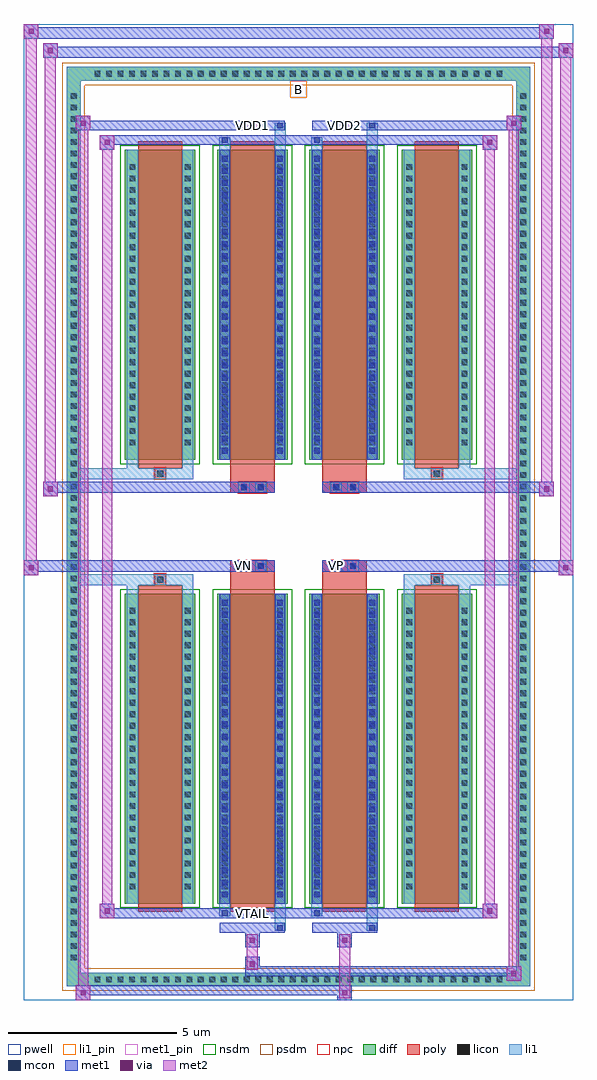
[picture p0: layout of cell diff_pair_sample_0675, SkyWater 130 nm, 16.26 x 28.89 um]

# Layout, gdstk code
import gdstk
lib = gdstk.Library(unit=1e-6, precision=5e-09)
def R(c, l, rs):  # rectangles x0, y0, x1, y1
    for r in rs: c.add(gdstk.rectangle(r[:2], r[2:], *l))
def A(c, l, x, y, w, h, nx, ny, dx, dy):  # array of equal rectangles
    R(c, l, [(x+i*dx, y+j*dy, x+i*dx+w, y+j*dy+h) for i in range(nx) for j in range(ny)])
def P(c, l, *ps):  # polygons
    for p in ps: c.add(gdstk.Polygon(p, *l))
pwell = (64, 44)
diff = (65, 20)
poly = (66, 20)
licon = (66, 44)
li1_pin = (67, 16)
li1 = (67, 20)
mcon = (67, 44)
met1_pin = (68, 16)
met1 = (68, 20)
via = (68, 44)
met2 = (69, 20)
nsdm = (93, 44)
psdm = (94, 20)
npc = (95, 20)

diff_pair_sample_0675 = lib.new_cell('diff_pair_sample_0675')
R(diff_pair_sample_0675, pwell, [(-8.13,-14.01,8.13,14.88), (-5.45,-12.2,-0.01,-0.8), (0.01,-12.2,5.45,-0.8), (-5.45,0.8,-0.01,12.2), (0.01,0.8,5.45,12.2)])
A(diff_pair_sample_0675, diff, -6.155, -13.61, 0.41, 0.41, 36, 2, 0.34, 26.81)
A(diff_pair_sample_0675, diff, -6.86, -12.955, 0.41, 0.41, 1, 76, 0, 0.34)
A(diff_pair_sample_0675, diff, 6.45, -12.955, 0.41, 0.41, 1, 76, 0, 0.34)
A(diff_pair_sample_0675, diff, -5.14, -11.155, 2.09, 9.17, 4, 2, 2.73, 13.14)
R(diff_pair_sample_0675, diff, [(-6.155,-13.61,6.155,-13.2), (-6.86,-12.955,-6.45,12.955), (6.45,-12.955,6.86,12.955), (-6.155,13.2,6.155,13.61)])
P(diff_pair_sample_0675, diff, [(6.86,13.61),(-6.86,13.61),(-6.86,-13.2),(-6.45,-13.2),(-6.45,13.2),(6.45,13.2),(6.45,-13.2),(-6.45,-13.2),(-6.86,-13.2),(-6.86,-13.61),(6.86,-13.61)])
A(diff_pair_sample_0675, poly, -4.75, -11.405, 1.31, 9.67, 4, 2, 2.73, 13.14)
R(diff_pair_sample_0675, poly, [(-4.26,-1.735,-3.93,-1.405), (-4.26,-1.735,-3.93,-1.405), (-2.02,-1.735,-0.71,-1.33), (0.71,-1.735,2.02,-1.33), (3.93,-1.735,4.26,-1.405), (3.93,-1.735,4.26,-1.405), (-2.02,-1.33,-0.71,-1), (-1.78,-1.33,-1.45,-1), (-1.28,-1.33,-0.95,-1), (0.71,-1.33,2.02,-1), (0.95,-1.33,1.28,-1), (1.45,-1.33,1.78,-1), (-2.02,1,-0.71,1.33), (-1.78,1,-1.45,1.33), (-1.28,1,-0.95,1.33), (0.71,1,2.02,1.33), (0.95,1,1.28,1.33), (1.45,1,1.78,1.33), (-2.02,1.33,-0.71,1.735), (0.71,1.33,2.02,1.735), (-4.26,1.405,-3.93,1.735), (-4.26,1.405,-3.93,1.735), (3.93,1.405,4.26,1.735), (3.93,1.405,4.26,1.735)])
A(diff_pair_sample_0675, licon, -6.035, -13.49, 0.17, 0.17, 36, 2, 0.34, 26.81)
A(diff_pair_sample_0675, licon, -6.74, -12.835, 0.17, 0.17, 1, 76, 0, 0.34)
A(diff_pair_sample_0675, licon, 6.57, -12.835, 0.17, 0.17, 1, 76, 0, 0.34)
A(diff_pair_sample_0675, licon, -5, -10.735, 0.17, 0.17, 1, 25, 0, 0.34)
A(diff_pair_sample_0675, licon, -3.36, -10.735, 0.17, 0.17, 1, 25, 0, 0.34)
A(diff_pair_sample_0675, licon, -2.27, -10.735, 0.17, 0.17, 1, 25, 0, 0.34)
A(diff_pair_sample_0675, licon, -0.63, -10.735, 0.17, 0.17, 1, 25, 0, 0.34)
A(diff_pair_sample_0675, licon, 0.46, -10.735, 0.17, 0.17, 1, 25, 0, 0.34)
A(diff_pair_sample_0675, licon, 2.1, -10.735, 0.17, 0.17, 1, 25, 0, 0.34)
A(diff_pair_sample_0675, licon, 3.19, -10.735, 0.17, 0.17, 1, 25, 0, 0.34)
A(diff_pair_sample_0675, licon, 4.83, -10.735, 0.17, 0.17, 1, 25, 0, 0.34)
A(diff_pair_sample_0675, licon, -5, 2.405, 0.17, 0.17, 1, 25, 0, 0.34)
A(diff_pair_sample_0675, licon, -3.36, 2.405, 0.17, 0.17, 1, 25, 0, 0.34)
A(diff_pair_sample_0675, licon, -2.27, 2.405, 0.17, 0.17, 1, 25, 0, 0.34)
A(diff_pair_sample_0675, licon, -0.63, 2.405, 0.17, 0.17, 1, 25, 0, 0.34)
A(diff_pair_sample_0675, licon, 0.46, 2.405, 0.17, 0.17, 1, 25, 0, 0.34)
A(diff_pair_sample_0675, licon, 2.1, 2.405, 0.17, 0.17, 1, 25, 0, 0.34)
A(diff_pair_sample_0675, licon, 3.19, 2.405, 0.17, 0.17, 1, 25, 0, 0.34)
A(diff_pair_sample_0675, licon, 4.83, 2.405, 0.17, 0.17, 1, 25, 0, 0.34)
R(diff_pair_sample_0675, licon, [(-4.18,-1.655,-4.01,-1.485), (4.01,-1.655,4.18,-1.485), (-1.7,-1.25,-1.53,-1.08), (-1.2,-1.25,-1.03,-1.08), (1.03,-1.25,1.2,-1.08), (1.53,-1.25,1.7,-1.08), (-1.7,1.08,-1.53,1.25), (-1.2,1.08,-1.03,1.25), (1.03,1.08,1.2,1.25), (1.53,1.08,1.7,1.25), (-4.18,1.485,-4.01,1.655), (4.01,1.485,4.18,1.655)])
R(diff_pair_sample_0675, li1_pin, [(-0.25,12.7,0.25,13.2)])
A(diff_pair_sample_0675, li1, -6.115, -13.57, 0.33, 0.33, 36, 2, 0.34, 26.81)
A(diff_pair_sample_0675, li1, -6.82, -12.915, 0.33, 0.33, 1, 76, 0, 0.34)
A(diff_pair_sample_0675, li1, 6.49, -12.915, 0.33, 0.33, 1, 76, 0, 0.34)
A(diff_pair_sample_0675, li1, -2.27, -10.975, 0.17, 0.17, 1, 25, 0, 0.36)
A(diff_pair_sample_0675, li1, -0.63, -10.975, 0.17, 0.17, 1, 25, 0, 0.36)
A(diff_pair_sample_0675, li1, 0.46, -10.975, 0.17, 0.17, 1, 25, 0, 0.36)
A(diff_pair_sample_0675, li1, 2.1, -10.975, 0.17, 0.17, 1, 25, 0, 0.36)
A(diff_pair_sample_0675, li1, -5.08, -10.815, 0.33, 0.33, 1, 25, 0, 0.34)
A(diff_pair_sample_0675, li1, -3.44, -10.815, 0.33, 0.33, 1, 25, 0, 0.34)
A(diff_pair_sample_0675, li1, -2.35, -10.815, 0.33, 0.33, 1, 25, 0, 0.34)
A(diff_pair_sample_0675, li1, -0.71, -10.815, 0.33, 0.33, 1, 25, 0, 0.34)
A(diff_pair_sample_0675, li1, 0.38, -10.815, 0.33, 0.33, 1, 25, 0, 0.34)
A(diff_pair_sample_0675, li1, 2.02, -10.815, 0.33, 0.33, 1, 25, 0, 0.34)
A(diff_pair_sample_0675, li1, 3.11, -10.815, 0.33, 0.33, 1, 25, 0, 0.34)
A(diff_pair_sample_0675, li1, 4.75, -10.815, 0.33, 0.33, 1, 25, 0, 0.34)
A(diff_pair_sample_0675, li1, -2.27, 2.165, 0.17, 0.17, 1, 25, 0, 0.36)
A(diff_pair_sample_0675, li1, -0.63, 2.165, 0.17, 0.17, 1, 25, 0, 0.36)
A(diff_pair_sample_0675, li1, 0.46, 2.165, 0.17, 0.17, 1, 25, 0, 0.36)
A(diff_pair_sample_0675, li1, 2.1, 2.165, 0.17, 0.17, 1, 25, 0, 0.36)
A(diff_pair_sample_0675, li1, -5.08, 2.325, 0.33, 0.33, 1, 25, 0, 0.34)
A(diff_pair_sample_0675, li1, -3.44, 2.325, 0.33, 0.33, 1, 25, 0, 0.34)
A(diff_pair_sample_0675, li1, -2.35, 2.325, 0.33, 0.33, 1, 25, 0, 0.34)
A(diff_pair_sample_0675, li1, -0.71, 2.325, 0.33, 0.33, 1, 25, 0, 0.34)
A(diff_pair_sample_0675, li1, 0.38, 2.325, 0.33, 0.33, 1, 25, 0, 0.34)
A(diff_pair_sample_0675, li1, 2.02, 2.325, 0.33, 0.33, 1, 25, 0, 0.34)
A(diff_pair_sample_0675, li1, 3.11, 2.325, 0.33, 0.33, 1, 25, 0, 0.34)
A(diff_pair_sample_0675, li1, 4.75, 2.325, 0.33, 0.33, 1, 25, 0, 0.34)
R(diff_pair_sample_0675, li1, [(-6.86,-13.61,-6.45,-13.2), (-6.86,-13.61,-6.45,-13.2), (-6.45,-13.61,6.45,-13.2), (6.45,-13.61,6.86,-13.2), (6.45,-13.61,6.86,-13.2), (-6.86,-13.2,-6.45,13.2), (6.45,-13.2,6.86,13.2), (-0.71,-11.96,-0.38,-11.155), (-0.63,-11.96,-0.46,-11.79), (2.02,-11.96,2.35,-11.155), (2.1,-11.96,2.27,-11.79), (-2.35,-11.53,-2.02,-11.155), (-2.27,-11.53,-2.1,-11.36), (0.38,-11.53,0.71,-11.155), (0.46,-11.53,0.63,-11.36), (-5.08,-11.155,-4.75,-1.985), (-3.44,-11.155,-3.11,-1.985), (-2.35,-11.155,-2.02,-1.985), (-0.71,-11.155,-0.38,-1.985), (0.38,-11.155,0.71,-1.985), (2.02,-11.155,2.35,-1.985), (3.11,-11.155,3.44,-1.985), (4.75,-11.155,5.08,-1.985), (-2.27,-10.975,-2.1,-2.165), (-0.63,-10.975,-0.46,-2.165), (0.46,-10.975,0.63,-2.165), (2.1,-10.975,2.27,-2.165), (-5.08,-1.985,-4.75,-1.405), (-3.44,-1.985,-3.11,-1.405), (3.11,-1.985,3.44,-1.405), (4.75,-1.985,5.08,-1.405), (-6.86,-1.735,-4.26,-1.405), (-5.08,-1.735,-4.26,-1.405), (-4.26,-1.735,-3.93,-1.405), (-3.93,-1.735,-3.11,-1.405), (3.11,-1.735,3.93,-1.405), (3.93,-1.735,4.26,-1.405), (3.93,-1.735,6.86,-1.405), (4.26,-1.735,5.08,-1.405), (-1.78,-1.33,-1.45,-1), (-1.28,-1.33,-0.95,-1), (0.95,-1.33,1.28,-1), (1.45,-1.33,1.78,-1), (-1.78,1,-1.45,1.33), (-1.28,1,-0.95,1.33), (0.95,1,1.28,1.33), (1.45,1,1.78,1.33), (-6.86,1.405,-4.26,1.735), (-5.08,1.405,-4.26,1.735), (-5.08,1.405,-4.75,1.985), (-4.26,1.405,-3.93,1.735), (-3.93,1.405,-3.11,1.735), (-3.44,1.405,-3.11,1.985), (3.11,1.405,3.93,1.735), (3.11,1.405,3.44,1.985), (3.93,1.405,4.26,1.735), (3.93,1.405,6.86,1.735), (4.26,1.405,5.08,1.735), (4.75,1.405,5.08,1.985), (-5.08,1.985,-4.75,11.155), (-3.44,1.985,-3.11,11.155), (-2.35,1.985,-2.02,11.155), (-0.71,1.985,-0.38,11.155), (0.38,1.985,0.71,11.155), (2.02,1.985,2.35,11.155), (3.11,1.985,3.44,11.155), (4.75,1.985,5.08,11.155), (-2.27,2.165,-2.1,10.975), (-0.63,2.165,-0.46,10.975), (0.46,2.165,0.63,10.975), (2.1,2.165,2.27,10.975), (-2.35,11.155,-2.02,11.53), (-0.71,11.155,-0.38,11.96), (0.38,11.155,0.71,11.53), (2.02,11.155,2.35,11.96), (-2.27,11.36,-2.1,11.53), (0.46,11.36,0.63,11.53), (-0.63,11.79,-0.46,11.96), (2.1,11.79,2.27,11.96), (-6.86,13.2,-6.45,13.61), (-6.86,13.2,-6.45,13.61), (-6.45,13.2,6.45,13.61), (6.45,13.2,6.86,13.61), (6.45,13.2,6.86,13.61)])
A(diff_pair_sample_0675, mcon, -2.27, -10.975, 0.17, 0.17, 1, 25, 0, 0.36)
A(diff_pair_sample_0675, mcon, -0.63, -10.975, 0.17, 0.17, 1, 25, 0, 0.36)
A(diff_pair_sample_0675, mcon, 0.46, -10.975, 0.17, 0.17, 1, 25, 0, 0.36)
A(diff_pair_sample_0675, mcon, 2.1, -10.975, 0.17, 0.17, 1, 25, 0, 0.36)
A(diff_pair_sample_0675, mcon, -2.27, 2.165, 0.17, 0.17, 1, 25, 0, 0.36)
A(diff_pair_sample_0675, mcon, -0.63, 2.165, 0.17, 0.17, 1, 25, 0, 0.36)
A(diff_pair_sample_0675, mcon, 0.46, 2.165, 0.17, 0.17, 1, 25, 0, 0.36)
A(diff_pair_sample_0675, mcon, 2.1, 2.165, 0.17, 0.17, 1, 25, 0, 0.36)
R(diff_pair_sample_0675, mcon, [(-0.63,-11.96,-0.46,-11.79), (2.1,-11.96,2.27,-11.79), (-2.27,-11.53,-2.1,-11.36), (0.46,-11.53,0.63,-11.36), (-1.7,-1.25,-1.53,-1.08), (-1.2,-1.25,-1.03,-1.08), (1.03,-1.25,1.2,-1.08), (1.53,-1.25,1.7,-1.08), (-1.7,1.08,-1.53,1.25), (-1.2,1.08,-1.03,1.25), (1.03,1.08,1.2,1.25), (1.53,1.08,1.7,1.25), (-2.27,11.36,-2.1,11.53), (0.46,11.36,0.63,11.53), (-0.63,11.79,-0.46,11.96), (2.1,11.79,2.27,11.96)])
R(diff_pair_sample_0675, met1_pin, [(-1.5,-11.57,-1.23,-11.3), (-1.75,-1.29,-1.48,-1.02), (0.98,-1.29,1.25,-1.02), (-1.5,11.75,-1.23,12.02), (1.23,11.75,1.5,12.02)])
A(diff_pair_sample_0675, met1, -2.33, -11.035, 0.29, 0.29, 1, 25, 0, 0.36)
A(diff_pair_sample_0675, met1, -0.69, -11.035, 0.29, 0.29, 1, 25, 0, 0.36)
A(diff_pair_sample_0675, met1, 0.4, -11.035, 0.29, 0.29, 1, 25, 0, 0.36)
A(diff_pair_sample_0675, met1, 2.04, -11.035, 0.29, 0.29, 1, 25, 0, 0.36)
A(diff_pair_sample_0675, met1, -2.33, 2.105, 0.29, 0.29, 1, 25, 0, 0.36)
A(diff_pair_sample_0675, met1, -0.69, 2.105, 0.29, 0.29, 1, 25, 0, 0.36)
A(diff_pair_sample_0675, met1, 0.4, 2.105, 0.29, 0.29, 1, 25, 0, 0.36)
A(diff_pair_sample_0675, met1, 2.04, 2.105, 0.29, 0.29, 1, 25, 0, 0.36)
R(diff_pair_sample_0675, met1, [(-6.59,-14.01,-6.16,-13.58), (1.15,-14.01,1.58,-13.58), (-6.59,-13.87,1.58,-13.58), (6.16,-13.44,6.59,-13.01), (-1.58,-13.3,6.59,-13.01), (-1.58,-13.16,-1.15,-12.73), (-1.58,-12.45,-1.15,-12.02), (1.15,-12.45,1.58,-12.02), (-2.33,-12.02,-0.4,-11.73), (-0.69,-12.02,-0.4,-11.73), (0.4,-12.02,2.33,-11.73), (2.04,-12.02,2.33,-11.73), (-5.88,-11.59,-5.45,-11.16), (-5.88,-11.59,-2.33,-11.3), (-2.33,-11.59,-2.04,-11.3), (-2.33,-11.59,-0.4,-11.3), (-0.4,-11.59,0.4,-11.3), (0.4,-11.59,0.69,-11.3), (0.4,-11.59,2.33,-11.3), (2.33,-11.59,5.88,-11.3), (5.45,-11.59,5.88,-11.16), (-2.33,-11.155,-2.04,-1.985), (-0.69,-11.155,-0.4,-1.985), (0.4,-11.155,0.69,-1.985), (2.04,-11.155,2.33,-1.985), (-8.13,-1.43,-7.7,-1), (7.7,-1.43,8.13,-1), (-8.13,-1.33,-0.71,-1), (-2.02,-1.33,-0.71,-1), (0.71,-1.33,2.02,-1), (0.71,-1.33,8.13,-1), (-1.76,-1.31,-1.47,-1.02), (-1.26,-1.31,-0.97,-1.02), (0.97,-1.31,1.26,-1.02), (1.47,-1.31,1.76,-1.02), (-7.56,0.9,-7.13,1.33), (7.13,0.9,7.56,1.33), (-7.56,1,-2.02,1.33), (-2.02,1,-0.71,1.33), (0.71,1,2.02,1.33), (2.02,1,7.56,1.33), (-1.76,1.02,-1.47,1.31), (-1.26,1.02,-0.97,1.31), (0.97,1.02,1.26,1.31), (1.47,1.02,1.76,1.31), (-2.33,1.985,-2.04,11.155), (-0.69,1.985,-0.4,11.155), (0.4,1.985,0.69,11.155), (2.04,1.985,2.33,11.155), (-5.88,11.16,-5.45,11.59), (5.45,11.16,5.88,11.59), (-5.88,11.3,-2.33,11.59), (-2.33,11.3,-2.04,11.59), (-2.33,11.3,-0.4,11.59), (-0.4,11.3,0.4,11.59), (0.4,11.3,0.69,11.59), (0.4,11.3,2.33,11.59), (2.33,11.3,5.88,11.59), (-6.59,11.73,-6.16,12.16), (-6.59,11.73,-2.33,12.02), (-2.33,11.73,-0.4,12.02), (-0.69,11.73,-0.4,12.02), (0.4,11.73,2.33,12.02), (2.04,11.73,2.33,12.02), (2.33,11.73,6.59,12.02), (6.16,11.73,6.59,12.16), (-7.56,13.88,-7.13,14.31), (-7.56,13.88,-5.45,14.21), (-5.45,13.88,5.45,14.21), (5.45,13.88,8.13,14.21), (7.7,13.88,8.13,14.31), (-8.13,14.45,-7.7,14.88), (-8.13,14.45,-5.45,14.78), (-5.45,14.45,5.45,14.78), (5.45,14.45,7.56,14.78), (7.13,14.45,7.56,14.88)])
R(diff_pair_sample_0675, via, [(-6.45,-13.87,-6.3,-13.72), (1.29,-13.87,1.44,-13.72), (6.3,-13.3,6.45,-13.15), (-1.44,-13.02,-1.29,-12.87), (-1.44,-12.31,-1.29,-12.16), (1.29,-12.31,1.44,-12.16), (-5.74,-11.45,-5.59,-11.3), (5.59,-11.45,5.74,-11.3), (-7.99,-1.29,-7.84,-1.14), (7.84,-1.29,7.99,-1.14), (-7.42,1.04,-7.27,1.19), (7.27,1.04,7.42,1.19), (-5.74,11.3,-5.59,11.45), (5.59,11.3,5.74,11.45), (-6.45,11.87,-6.3,12.02), (6.3,11.87,6.45,12.02), (-7.42,14.02,-7.27,14.17), (7.84,14.02,7.99,14.17), (-7.99,14.59,-7.84,14.74), (7.27,14.59,7.42,14.74)])
R(diff_pair_sample_0675, met2, [(-6.59,-14.01,-6.16,-13.58), (-6.52,-14.01,-6.23,12.16), (-6.23,-14.01,-6.16,-13.58), (-6.54,-13.96,-6.21,-13.63), (1.2,-13.96,1.53,-13.63), (1.2,-13.63,1.53,-12.4), (6.16,-13.44,6.59,-13.01), (6.23,-13.44,6.52,12.16), (6.52,-13.44,6.59,-13.01), (6.21,-13.39,6.54,-13.06), (-1.53,-13.11,-1.2,-12.78), (-1.53,-12.78,-1.2,-12.4), (-1.53,-12.4,-1.2,-12.07), (1.2,-12.4,1.53,-12.07), (-5.88,-11.59,-5.45,-11.16), (-5.81,-11.59,-5.52,11.59), (-5.52,-11.59,-5.45,-11.16), (5.45,-11.59,5.88,-11.16), (5.52,-11.59,5.81,11.59), (5.81,-11.59,5.88,-11.16), (-5.83,-11.54,-5.5,-11.21), (5.5,-11.54,5.83,-11.21), (-8.13,-1.43,-7.7,-1), (-8.08,-1.43,-7.75,14.88), (-7.75,-1.43,-7.7,-1), (7.7,-1.43,8.13,-1), (7.75,-1.43,8.08,14.31), (8.08,-1.43,8.13,-1), (-8.08,-1.38,-7.75,-1.05), (7.75,-1.38,8.08,-1.05), (-7.56,0.9,-7.13,1.33), (-7.51,0.9,-7.18,14.31), (-7.18,0.9,-7.13,1.33), (7.13,0.9,7.56,1.33), (7.18,0.9,7.51,14.88), (7.51,0.9,7.56,1.33), (-7.51,0.95,-7.18,1.28), (7.18,0.95,7.51,1.28), (-5.88,11.16,-5.45,11.59), (-5.52,11.16,-5.45,11.59), (5.45,11.16,5.88,11.59), (5.81,11.16,5.88,11.59), (-5.83,11.21,-5.5,11.54), (5.5,11.21,5.83,11.54), (-6.59,11.73,-6.16,12.16), (-6.23,11.73,-6.16,12.16), (6.16,11.73,6.59,12.16), (6.52,11.73,6.59,12.16), (-6.54,11.78,-6.21,12.11), (6.21,11.78,6.54,12.11), (-7.56,13.88,-7.13,14.31), (-7.18,13.88,-7.13,14.31), (7.7,13.88,8.13,14.31), (8.08,13.88,8.13,14.31), (-7.51,13.93,-7.18,14.26), (7.75,13.93,8.08,14.26), (-8.13,14.45,-7.7,14.88), (-7.75,14.45,-7.7,14.88), (7.13,14.45,7.56,14.88), (7.51,14.45,7.56,14.88), (-8.08,14.5,-7.75,14.83), (7.18,14.5,7.51,14.83)])
A(diff_pair_sample_0675, nsdm, -5.27, -11.285, 2.35, 9.43, 4, 2, 2.73, 13.14)
P(diff_pair_sample_0675, psdm, [(6.99,13.74),(-6.99,13.74),(-6.99,-13.07),(-6.32,-13.07),(-6.32,13.07),(6.32,13.07),(6.32,-13.07),(-6.32,-13.07),(-6.99,-13.07),(-6.99,-13.74),(6.99,-13.74)])
R(diff_pair_sample_0675, npc, [(-4.28,-1.755,-3.91,-1.385), (3.91,-1.755,4.28,-1.385), (-1.8,-1.35,-1.43,-0.98), (-1.8,-1.35,-0.93,-0.98), (-1.8,-1.35,-0.93,-0.98), (-1.3,-1.35,-0.93,-0.98), (0.93,-1.35,1.3,-0.98), (0.93,-1.35,1.8,-0.98), (0.93,-1.35,1.8,-0.98), (1.43,-1.35,1.8,-0.98), (-1.8,0.98,-1.43,1.35), (-1.8,0.98,-0.93,1.35), (-1.8,0.98,-0.93,1.35), (-1.3,0.98,-0.93,1.35), (0.93,0.98,1.3,1.35), (0.93,0.98,1.8,1.35), (0.93,0.98,1.8,1.35), (1.43,0.98,1.8,1.35), (-4.28,1.385,-3.91,1.755), (3.91,1.385,4.28,1.755)])
diff_pair_sample_0675.add(gdstk.Label('VTAIL', (-1.365,-11.435), layer=68, texttype=5))
diff_pair_sample_0675.add(gdstk.Label('VN', (-1.615,-1.155), layer=68, texttype=5))
diff_pair_sample_0675.add(gdstk.Label('VP', (1.115,-1.155), layer=68, texttype=5))
diff_pair_sample_0675.add(gdstk.Label('B', (0,12.95), layer=67, texttype=5))
diff_pair_sample_0675.add(gdstk.Label('VDD2', (1.365,11.885), layer=68, texttype=5))
diff_pair_sample_0675.add(gdstk.Label('VDD1', (-1.365,11.885), layer=68, texttype=5))

lib.write_gds('diff_pair_sample_0675.gds')
